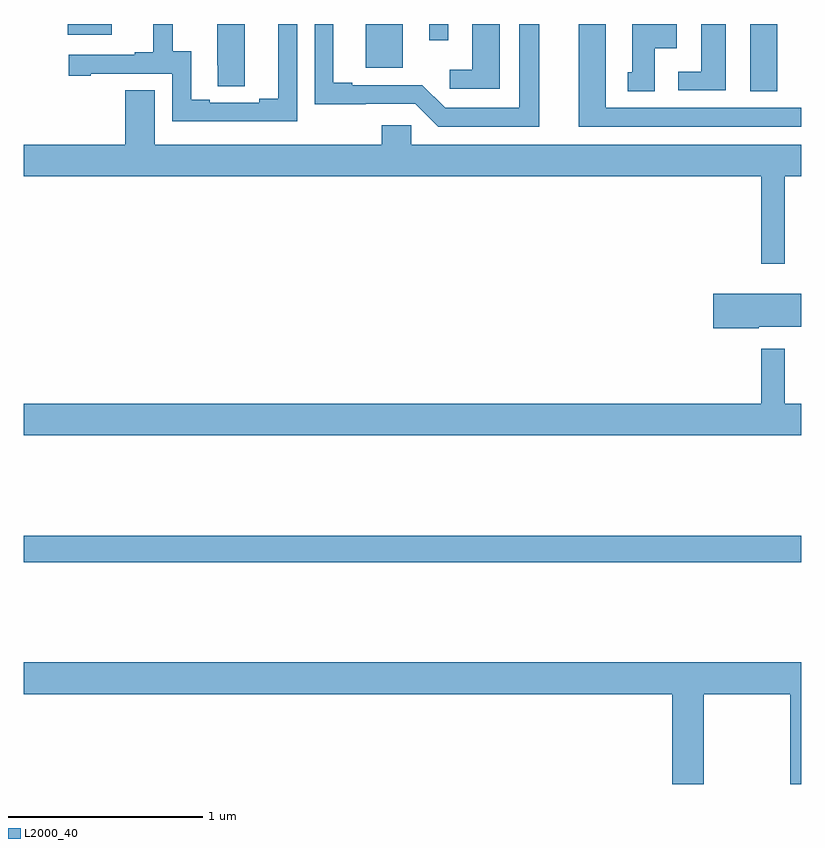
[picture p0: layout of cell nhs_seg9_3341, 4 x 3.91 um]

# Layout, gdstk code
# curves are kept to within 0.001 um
import gdstk
lib = gdstk.Library(unit=1e-6, precision=1e-09)
def R(c, l, rs):  # rectangles x0, y0, x1, y1
    for r in rs: c.add(gdstk.rectangle(r[:2], r[2:], *l))
def P(c, l, *ps):  # polygons
    for p in ps: c.add(gdstk.Polygon(p, *l))
L2000_40 = (2000, 40)

nhs_seg9_3341 = lib.new_cell('nhs_seg9_3341')
R(nhs_seg9_3341, L2000_40, [(301,1231.732,305,1231.868), (304.736,1234.153,304.876,1234.5), (302.759,1234.274,302.95,1234.5), (303.086,1234.416,303.183,1234.5), (301.226,1234.445,301.453,1234.5)])
P(nhs_seg9_3341, L2000_40, [(303.652,1234.5),(303.548,1234.5),(303.548,1234.068),(303.168,1234.068),(303.051,1234.185),(302.689,1234.185),(302.689,1234.198),(302.593,1234.198),(302.593,1234.5),(302.496,1234.5),(302.496,1234.088),(303.015,1234.089),(303.132,1233.972),(303.652,1233.972)],
  [(304.612,1234.5),(304.484,1234.5),(304.484,1234.254),(304.368,1234.254),(304.368,1234.158),(304.612,1234.158)],
  [(302.137,1234.5),(301.997,1234.5),(301.997,1234.288),(301.998,1234.288),(301.998,1234.18),(302.137,1234.18)],
  [(302.406,1234.5),(302.309,1234.5),(302.309,1234.115),(302.213,1234.115),(302.213,1234.095),(301.957,1234.095),(301.957,1234.11),(301.861,1234.11),(301.861,1234.361),(301.767,1234.361),(301.767,1234.5),(301.667,1234.5),(301.667,1234.354),(301.571,1234.354),(301.571,1234.341),(301.233,1234.341),(301.233,1234.233),(301.345,1234.233),(301.345,1234.245),(301.764,1234.245),(301.764,1233.999),(302.406,1233.999)],
  [(304.246,1234.376),(304.36,1234.376),(304.36,1234.5),(304.13,1234.5),(304.13,1234.251),(304.106,1234.251),(304.106,1234.153),(304.246,1234.153)],
  [(303.448,1234.5),(303.308,1234.5),(303.308,1234.264),(303.192,1234.264),(303.192,1234.167),(303.448,1234.167)],
  [(305,1234.068),(303.994,1234.068),(303.994,1234.5),(303.854,1234.5),(303.854,1233.972),(305,1233.972)],
  [(304.915,1233.716),(305,1233.716),(305,1233.88),(302.994,1233.88),(302.994,1233.978),(302.843,1233.978),(302.843,1233.88),(301.675,1233.88),(301.675,1234.16),(301.523,1234.16),(301.523,1233.88),(301,1233.88),(301,1233.716),(304.794,1233.716),(304.794,1233.267),(304.915,1233.267)],
  [(304.782,1232.942),(305,1232.942),(305,1233.113),(304.548,1233.113),(304.548,1232.935),(304.782,1232.935)],
  [(305,1232.548),(304.915,1232.548),(304.915,1232.83),(304.794,1232.83),(304.794,1232.548),(301,1232.548),(301,1232.384),(305,1232.384)],
  [(304.497,1231.052),(304.942,1231.052),(304.942,1230.591),(305,1230.591),(305,1231.216),(301,1231.216),(301,1231.052),(304.337,1231.052),(304.337,1230.591),(304.497,1230.591)])

lib.write_gds('nhs_seg9_3341.gds')
